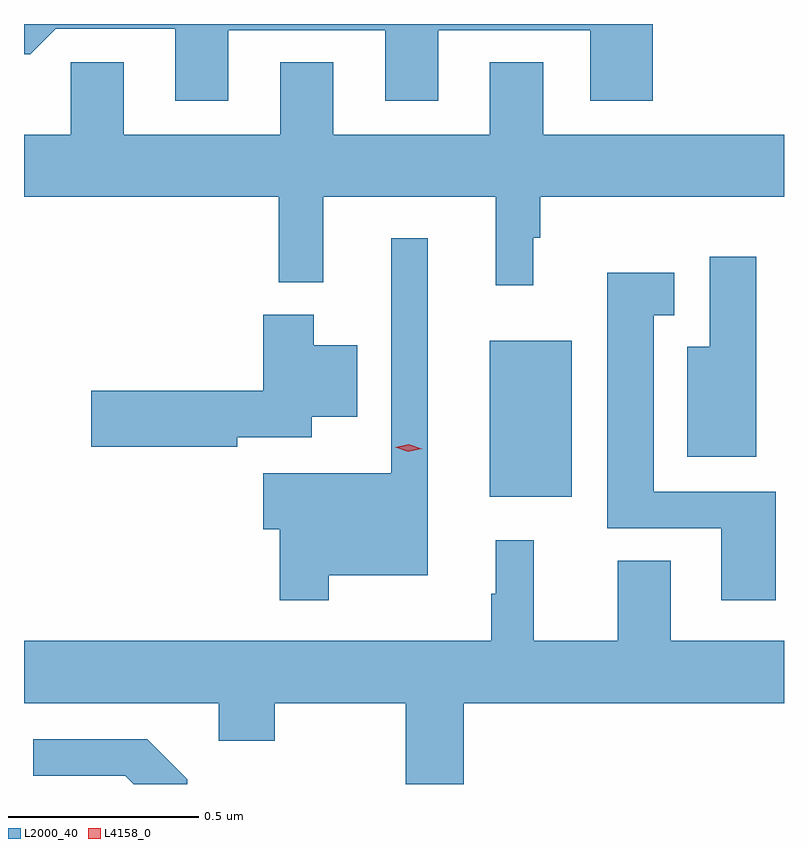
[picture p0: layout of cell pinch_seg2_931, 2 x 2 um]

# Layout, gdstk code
import gdstk
lib = gdstk.Library(unit=1e-6, precision=1e-09)
def R(c, l, rs):  # rectangles x0, y0, x1, y1
    for r in rs: c.add(gdstk.rectangle(r[:2], r[2:], *l))
def P(c, l, *ps):  # polygons
    for p in ps: c.add(gdstk.Polygon(p, *l))
L2000_40 = (2000, 40)
L4158_0 = (4158, 0)

pinch_seg2_931 = lib.new_cell('pinch_seg2_931')
R(pinch_seg2_931, L2000_40, [(408.365,650.843,408.58,651.253)])
P(pinch_seg2_931, L2000_40, [(407.677,652.071),(408.089,652.071),(408.089,651.885),(408.229,651.885),(408.229,652.071),(408.629,652.071),(408.629,651.885),(408.794,651.885),(408.794,652.087),(407.139,652.087),(407.139,652.007),(407.156,652.007),(407.223,652.074),(407.537,652.074),(407.537,651.885),(407.677,651.885)],
  [(408.479,651.524),(408.497,651.524),(408.497,651.632),(409.139,651.632),(409.139,651.796),(408.505,651.796),(408.505,651.986),(408.365,651.986),(408.365,651.796),(407.953,651.796),(407.953,651.986),(407.813,651.986),(407.813,651.796),(407.401,651.796),(407.401,651.986),(407.262,651.986),(407.262,651.796),(407.139,651.796),(407.139,651.632),(407.809,651.632),(407.809,651.407),(407.927,651.407),(407.927,651.632),(408.38,651.632),(408.38,651.399),(408.479,651.399)],
  [(407.941,650.636),(408.202,650.636),(408.202,651.523),(408.105,651.523),(408.105,650.905),(407.768,650.905),(407.768,650.758),(407.812,650.758),(407.812,650.571),(407.941,650.571)],
  [(409.066,651.475),(408.944,651.475),(408.944,651.238),(408.884,651.238),(408.884,650.948),(409.066,650.948)],
  [(409.117,650.856),(408.796,650.856),(408.796,651.32),(408.85,651.32),(408.85,651.433),(408.674,651.433),(408.674,650.76),(408.974,650.76),(408.974,650.571),(409.117,650.571)],
  [(407.7,650.999),(407.896,650.999),(407.896,651.053),(408.016,651.053),(408.016,651.241),(407.902,651.241),(407.902,651.322),(407.768,651.322),(407.768,651.122),(407.316,651.122),(407.316,650.975),(407.7,650.975)],
  [(408.296,650.3),(409.139,650.3),(409.139,650.464),(408.841,650.464),(408.841,650.675),(408.701,650.675),(408.701,650.464),(408.48,650.464),(408.48,650.728),(408.38,650.728),(408.38,650.588),(408.369,650.588),(408.369,650.464),(407.139,650.464),(407.139,650.3),(407.651,650.3),(407.651,650.201),(407.799,650.201),(407.799,650.3),(408.143,650.3),(408.143,650.087),(408.296,650.087)],
  [(407.569,650.099),(407.463,650.205),(407.163,650.205),(407.163,650.109),(407.406,650.109),(407.428,650.087),(407.569,650.087)])
P(pinch_seg2_931, L4158_0, [(408.15,650.961),(408.116,650.973),(408.115,650.973),(408.116,650.973),(408.152,650.981),(408.186,650.969),(408.187,650.969),(408.186,650.969)])

lib.write_gds('pinch_seg2_931.gds')
